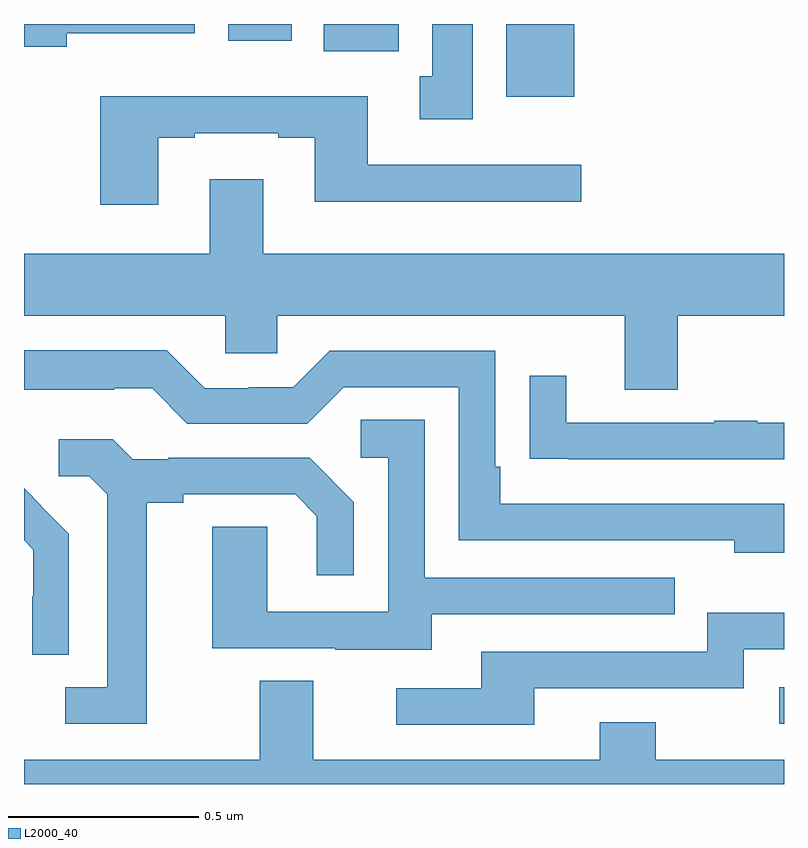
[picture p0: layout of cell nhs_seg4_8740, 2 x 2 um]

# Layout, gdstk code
import gdstk
lib = gdstk.Library(unit=1e-6, precision=1e-09)
def R(c, l, rs):  # rectangles x0, y0, x1, y1
    for r in rs: c.add(gdstk.rectangle(r[:2], r[2:], *l))
def P(c, l, *ps):  # polygons
    for p in ps: c.add(gdstk.Polygon(p, *l))
L2000_40 = (2000, 40)

nhs_seg4_8740 = lib.new_cell('nhs_seg4_8740')
R(nhs_seg4_8740, L2000_40, [(219.987,817.059,220,817.155), (219.269,818.708,219.448,818.9), (218.789,818.828,218.986,818.9), (218.537,818.856,218.704,818.9)])
P(nhs_seg4_8740, L2000_40, [(219.181,818.9),(219.074,818.9),(219.074,818.762),(219.041,818.762),(219.041,818.649),(219.181,818.649)],
  [(218.112,818.876),(218.449,818.876),(218.449,818.9),(218,818.9),(218,818.84),(218.112,818.84)],
  [(218.353,818.601),(218.449,818.601),(218.449,818.613),(218.669,818.613),(218.669,818.601),(218.765,818.601),(218.765,818.432),(219.466,818.432),(219.466,818.529),(218.905,818.529),(218.905,818.71),(218.201,818.71),(218.201,818.424),(218.353,818.424)],
  [(219.721,818.132),(220,818.132),(220,818.296),(218.629,818.296),(218.629,818.491),(218.489,818.491),(218.489,818.296),(218,818.296),(218,818.132),(218.529,818.132),(218.529,818.034),(218.667,818.034),(218.667,818.132),(219.581,818.132),(219.581,817.938),(219.721,817.938)],
  [(220,817.638),(219.253,817.638),(219.253,817.735),(219.24,817.735),(219.24,818.04),(218.805,818.04),(218.709,817.944),(218.591,817.944),(218.591,817.941),(218.475,817.941),(218.375,818.041),(218,818.041),(218,817.937),(218.237,817.937),(218.237,817.941),(218.337,817.941),(218.43,817.848),(218.745,817.848),(218.841,817.944),(219.144,817.944),(219.144,817.542),(219.869,817.542),(219.869,817.508),(220,817.508)],
  [(220,817.851),(219.929,817.851),(219.929,817.856),(219.817,817.856),(219.817,817.851),(219.427,817.851),(219.427,817.975),(219.331,817.975),(219.331,817.756),(219.433,817.756),(219.433,817.755),(220,817.755)],
  [(219.073,817.347),(219.713,817.347),(219.713,817.443),(219.054,817.443),(219.054,817.859),(218.886,817.859),(218.886,817.758),(218.958,817.758),(218.958,817.353),(218.64,817.353),(218.64,817.577),(218.495,817.577),(218.495,817.257),(218.819,817.257),(218.819,817.253),(219.073,817.253)],
  [(218.323,817.64),(218.419,817.64),(218.419,817.662),(218.714,817.662),(218.771,817.605),(218.771,817.449),(218.868,817.449),(218.868,817.642),(218.752,817.758),(218.38,817.758),(218.38,817.755),(218.286,817.755),(218.234,817.807),(218.091,817.807),(218.091,817.71),(218.172,817.71),(218.219,817.663),(218.219,817.155),(218.109,817.155),(218.109,817.059),(218.323,817.059)],
  [(218.118,817.558),(218.045,817.631),(218.046,817.632),(218,817.678),(218,817.541),(218.024,817.517),(218.024,817.394),(218.022,817.394),(218.022,817.24),(218.118,817.24)],
  [(219.343,817.152),(219.894,817.152),(219.894,817.254),(220,817.254),(220,817.351),(219.798,817.351),(219.798,817.248),(219.203,817.248),(219.203,817.152),(218.979,817.152),(218.979,817.056),(219.343,817.056)],
  [(220,816.964),(219.663,816.964),(219.663,817.063),(219.515,817.063),(219.515,816.964),(218.761,816.964),(218.761,817.172),(218.621,817.172),(218.621,816.964),(218,816.964),(218,816.9),(220,816.9)])

lib.write_gds('nhs_seg4_8740.gds')
